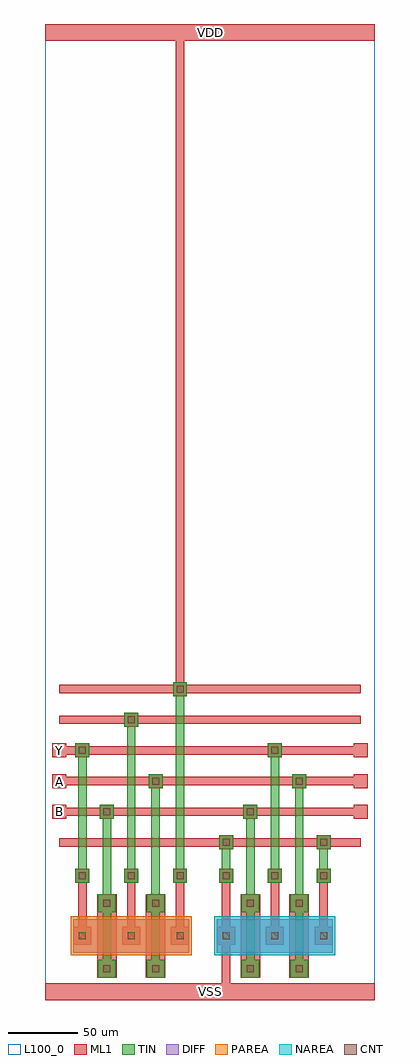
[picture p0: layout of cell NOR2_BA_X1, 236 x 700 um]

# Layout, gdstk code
import gdstk
lib = gdstk.Library(unit=1e-6, precision=1e-09)
def R(c, l, rs):  # rectangles x0, y0, x1, y1
    for r in rs: c.add(gdstk.rectangle(r[:2], r[2:], *l))
def A(c, l, x, y, w, h, nx, ny, dx, dy):  # array of equal rectangles
    R(c, l, [(x+i*dx, y+j*dy, x+i*dx+w, y+j*dy+h) for i in range(nx) for j in range(ny)])
DIFF = (3, 0)
TIN = (5, 0)
CNT = (7, 0)
ML1 = (8, 0)
PAREA = (18, 0)
NAREA = (19, 0)
L100_0 = (100, 0)

nor2_ba_x1 = lib.new_cell('NOR2_BA_X1')
R(nor2_ba_x1, DIFF, [(20,34,103,58), (123,34,206,58)])
A(nor2_ba_x1, TIN, 21.5, 84, 10, 10, 3, 1, 35, 0)
A(nor2_ba_x1, TIN, 124.5, 84, 10, 10, 3, 1, 35, 0)
R(nor2_ba_x1, TIN, [(37.5,16,50.5,29), (72.5,16,85.5,29), (140.5,16,153.5,29), (175.5,16,188.5,29), (41,28,47,65.5), (76,28,82,65.5), (144,28,150,65.5), (179,28,185,65.5), (37.5,63,50.5,76), (72.5,63,85.5,76), (140.5,63,153.5,76), (175.5,63,188.5,76), (41,69.5,47,135), (76,69.5,82,157), (144,69.5,150,135), (179,69.5,185,157), (23.5,89,29.5,179), (58.5,89,64.5,201), (93.5,89,99.5,223), (126.5,89,132.5,113), (161.5,89,167.5,179), (196.5,89,202.5,113), (124.5,108,134.5,118), (194.5,108,204.5,118), (39,130,49,140), (142,130,152,140), (74,152,84,162), (177,152,187,162), (21.5,174,31.5,184), (159.5,174,169.5,184), (56.5,196,66.5,206), (91.5,218,101.5,228)])
A(nor2_ba_x1, CNT, 24, 43.5, 5, 5, 3, 2, 35, 43)
A(nor2_ba_x1, CNT, 127, 43.5, 5, 5, 3, 2, 35, 43)
R(nor2_ba_x1, CNT, [(41.5,20,46.5,25), (76.5,20,81.5,25), (144.5,20,149.5,25), (179.5,20,184.5,25), (41.5,67,46.5,72), (76.5,67,81.5,72), (144.5,67,149.5,72), (179.5,67,184.5,72), (127,110.5,132,115.5), (197,110.5,202,115.5), (41.5,132.5,46.5,137.5), (144.5,132.5,149.5,137.5), (76.5,154.5,81.5,159.5), (179.5,154.5,184.5,159.5), (24,176.5,29,181.5), (162,176.5,167,181.5), (59,198.5,64,203.5), (94,220.5,99,225.5)])
A(nor2_ba_x1, ML1, 20, 39.5, 13, 13, 3, 1, 35, 0)
A(nor2_ba_x1, ML1, 123, 39.5, 13, 13, 3, 1, 35, 0)
A(nor2_ba_x1, ML1, 23.5, 46, 6, 43, 3, 1, 35, 0)
A(nor2_ba_x1, ML1, 126.5, 46, 6, 43, 3, 1, 35, 0)
A(nor2_ba_x1, ML1, 21.5, 84, 10, 10, 3, 1, 35, 0)
A(nor2_ba_x1, ML1, 124.5, 84, 10, 10, 3, 1, 35, 0)
A(nor2_ba_x1, ML1, 10, 110, 216, 6, 1, 6, 0, 22)
A(nor2_ba_x1, ML1, 5, 130, 10, 10, 1, 3, 0, 22)
A(nor2_ba_x1, ML1, 221, 130, 10, 10, 1, 3, 0, 22)
R(nor2_ba_x1, ML1, [(0,0,236,12), (126.5,3,132.5,92), (37,16,51,76), (37.5,16,50.5,29), (72,16,86,76), (72.5,16,85.5,29), (140,16,154,76), (140.5,16,153.5,29), (175,16,189,76), (175.5,16,188.5,29), (37.5,63,50.5,76), (72.5,63,85.5,76), (140.5,63,153.5,76), (175.5,63,188.5,76), (124.5,108,134.5,118), (194.5,108,204.5,118), (39,130,49,140), (142,130,152,140), (74,152,84,162), (177,152,187,162), (21.5,174,31.5,184), (159.5,174,169.5,184), (56.5,196,66.5,206), (91.5,218,101.5,228), (93.5,220,99.5,697), (0,688,236,700)])
R(nor2_ba_x1, PAREA, [(18,32,105,60)])
R(nor2_ba_x1, NAREA, [(121,32,208,60)])
R(nor2_ba_x1, L100_0, [(0,0,236,700)])
nor2_ba_x1.add(gdstk.Label('B', (10,135), layer=13, texttype=0))
nor2_ba_x1.add(gdstk.Label('A', (10,157), layer=13, texttype=0))
nor2_ba_x1.add(gdstk.Label('Y', (10,179), layer=13, texttype=0))
nor2_ba_x1.add(gdstk.Label('VDD', (118,694), layer=13, texttype=0))
nor2_ba_x1.add(gdstk.Label('VSS', (118,6), layer=13, texttype=0))

lib.write_gds('NOR2_BA_X1.gds')
